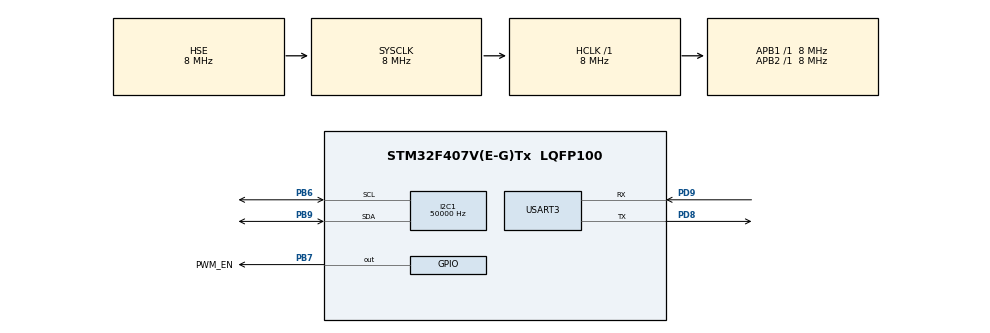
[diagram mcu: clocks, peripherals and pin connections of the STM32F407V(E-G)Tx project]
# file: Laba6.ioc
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I2C1.ClockSpeed=50000
Mcu.Family=STM32F4
Mcu.Name=STM32F407V(E-G)Tx
Mcu.Package=LQFP100
NVIC.PriorityGroup=NVIC_PRIORITYGROUP_4
NVIC.USART3_IRQn=true\:0\:0\:false\:false\:true\:true\:true
PA13.Mode=Serial_Wire
PA13.Signal=SYS_JTMS-SWDIO
PA14.Mode=Serial_Wire
PA14.Signal=SYS_JTCK-SWCLK
PB6.Mode=I2C
PB6.Signal=I2C1_SCL
PB7.GPIO_Label=PWM_EN
PB7.Signal=GPIO_Output
PB9.Mode=I2C
PB9.Signal=I2C1_SDA
PD8.Mode=Asynchronous
PD8.Signal=USART3_TX
PD9.Mode=Asynchronous
PD9.Signal=USART3_RX
PH0-OSC_IN.Mode=HSE-External-Oscillator
PH0-OSC_IN.Signal=RCC_OSC_IN
PH1-OSC_OUT.Mode=HSE-External-Oscillator
PH1-OSC_OUT.Signal=RCC_OSC_OUT
ProjectManager.HeapSize=0x200
ProjectManager.StackSize=0x400
ProjectManager.TargetToolchain=STM32CubeIDE
RCC.48MHZClocksFreq_Value=14500000
RCC.AHBFreq_Value=8000000
RCC.APB1Freq_Value=8000000
RCC.APB1TimFreq_Value=8000000
RCC.APB2Freq_Value=8000000
RCC.APB2TimFreq_Value=8000000
RCC.CortexFreq_Value=8000000
RCC.HCLKFreq_Value=8000000
RCC.HSE_VALUE=8000000
RCC.HSI_VALUE=16000000
RCC.LSE_VALUE=32768
RCC.PLLN=116
RCC.PLLSourceVirtual=RCC_PLLSOURCE_HSE
RCC.SYSCLKFreq_VALUE=8000000
RCC.SYSCLKSource=RCC_SYSCLKSOURCE_HSE
RCC.VCOOutputFreq_Value=58000000
USART3.VirtualMode=VM_ASYNC
board=custom

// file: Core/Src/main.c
/* USER CODE BEGIN Header */
/**
  ******************************************************************************
  * @file           : main.c
  * @brief          : Main program body
  ******************************************************************************
  * @attention
  *
  * <h2><center>&copy; Copyright (c) 2021 STMicroelectronics.
  * All rights reserved.</center></h2>
  *
  * This software component is licensed by ST under BSD 3-Clause license,
  * the "License"; You may not use this file except in compliance with the
  * License. You may obtain a copy of the License at:
  *                        opensource.org/licenses/BSD-3-Clause
  *
  ******************************************************************************
  */
/* USER CODE END Header */
#include "main.h"

/* USER CODE BEGIN PD */
#define CHAR2NUM(chr) ((chr)-48)
/* USER CODE END PD */

I2C_HandleTypeDef hi2c1;

UART_HandleTypeDef huart3;

/* USER CODE BEGIN PV */
uint8_t mode = 0;
_Bool end_freq = 0;
_Bool end_led = 0;
_Bool end_duty = 0;
_Bool sleep = 0;
_Bool state = 1;
uint8_t buffer_freq[4];
uint8_t buffer_led[2];
uint8_t buffer_duty[3];
uint8_t dutys[16];
/* USER CODE END PV */

void SystemClock_Config(void);
static void MX_GPIO_Init(void);
static void MX_I2C1_Init(void);
static void MX_USART3_UART_Init(void);
/* USER CODE BEGIN PFP */

uint16_t int_stepen(uint8_t num, uint8_t count);

/* USER CODE END PFP */

/* USER CODE BEGIN 0 */
void check_mode(void)
{
	uint8_t buffer;
	if (HAL_UART_Receive(&huart3, &buffer, 1, 10) != HAL_OK)
		return;
	switch(buffer)
	{
	case 'f':		//set frequency
		mode = 1;
		break;
	case 'l':		//set led info
		mode = 2;
		break;
	case 's':		//toggle sleep mode
		sleep = sleep == 1 ? 0 : 1;
		if (sleep)
			sleep_mode_on();
		else
			sleep_mode_off();
		break;
	case 'e':		//on/off
		state = state == 1 ? 0 : 1;
		state_all_PWM_channels(state);
		break;
	}
}

void set_frequency(void)
{
	if (mode != 1)
	{
		if (end_freq)
		{
			uint16_t num = 0;
			num = CHAR2NUM(buffer_freq[0]) * 1000 + CHAR2NUM(buffer_freq[1]) * 100 + CHAR2NUM(buffer_freq[2]) * 10 + CHAR2NUM(buffer_freq[3]);
			set_PWM_freq(num);
			for (uint8_t i = 0; i < 16; i++)
				set_PWM_duty(dutys[i], i);
			end_freq = 0;
		}
		return;
	}
	HAL_UART_Transmit(&huart3, "Set freqency:\r\n", 15, 50);
	HAL_UART_Receive_IT(&huart3, &buffer_freq, 4);
	mode = 0;
}

uint16_t int_stepen(uint8_t num, uint8_t count)
{
	uint16_t sum = 1;
	for(;count > 0; count--)
		sum *= num;
	return sum;
}

void set_duty(void)
{
	if (mode != 2)
	{
		if (end_duty)
		{
			uint8_t led = 0;
			led = CHAR2NUM(buffer_led[0]) * 10 + CHAR2NUM(buffer_led[1]);
			uint8_t duty = 0;
			duty = CHAR2NUM(buffer_duty[0]) * 100 + CHAR2NUM(buffer_duty[1]) * 10 + CHAR2NUM(buffer_duty[2]);
			dutys[led] = duty;
			set_PWM_duty(duty, led);
			end_duty = 0;
		}
		if(end_led)
		{
			HAL_UART_Transmit(&huart3, "Set DUTY:\r\n", 10, 50);
			HAL_UART_Receive_IT(&huart3, (uint8_t*)&buffer_duty, 3);
			end_led = 0;
		}
		return;
	}
	HAL_UART_Transmit(&huart3, "Set LED:\r\n", 10, 50);
	HAL_UART_Receive_IT(&huart3, &buffer_led, 2);

	mode = 0;
}

/* USER CODE END 0 */

int main(void)
{

  /* MCU Configuration--------------------------------------------------------*/

  /* Reset of all peripherals, Initializes the Flash interface and the Systick. */
  HAL_Init();

  /* Configure the system clock */
  SystemClock_Config();

  /* Initialize all configured peripherals */
  MX_GPIO_Init();
  MX_I2C1_Init();
  MX_USART3_UART_Init();
  /* USER CODE BEGIN 2 */

  state_all_PWM_channels(ENABLE);
  set_PWM_freq(1000);
  set_PWM_duty(20, 0);
  HAL_Delay(500);
  set_PWM_duty(50, 0);
  HAL_Delay(500);
  //state_all_PWM_channels(DISABLE);
  /* USER CODE END 2 */

  /* Infinite loop */
  /* USER CODE BEGIN WHILE */
  while (1)
  {
	  check_mode();
	  set_frequency();
	  set_duty();

    /* USER CODE END WHILE */

  }
}

void SystemClock_Config(void)
{
  RCC_OscInitTypeDef RCC_OscInitStruct = {0};
  RCC_ClkInitTypeDef RCC_ClkInitStruct = {0};

  /** Configure the main internal regulator output voltage
  */
  __HAL_RCC_PWR_CLK_ENABLE();
  __HAL_PWR_VOLTAGESCALING_CONFIG(PWR_REGULATOR_VOLTAGE_SCALE1);
  /** Initializes the RCC Oscillators according to the specified parameters
  * in the RCC_OscInitTypeDef structure.
  */
  RCC_OscInitStruct.OscillatorType = RCC_OSCILLATORTYPE_HSE;
  RCC_OscInitStruct.HSEState = RCC_HSE_ON;
  RCC_OscInitStruct.PLL.PLLState = RCC_PLL_NONE;
  if (HAL_RCC_OscConfig(&RCC_OscInitStruct) != HAL_OK)
  {
    Error_Handler();
  }
  /** Initializes the CPU, AHB and APB buses clocks
  */
  RCC_ClkInitStruct.ClockType = RCC_CLOCKTYPE_HCLK|RCC_CLOCKTYPE_SYSCLK
                              |RCC_CLOCKTYPE_PCLK1|RCC_CLOCKTYPE_PCLK2;
  RCC_ClkInitStruct.SYSCLKSource = RCC_SYSCLKSOURCE_HSE;
  RCC_ClkInitStruct.AHBCLKDivider = RCC_SYSCLK_DIV1;
  RCC_ClkInitStruct.APB1CLKDivider = RCC_HCLK_DIV1;
  RCC_ClkInitStruct.APB2CLKDivider = RCC_HCLK_DIV1;

  if (HAL_RCC_ClockConfig(&RCC_ClkInitStruct, FLASH_LATENCY_0) != HAL_OK)
  {
    Error_Handler();
  }
}

static void MX_I2C1_Init(void)
{

  hi2c1.Instance = I2C1;
  hi2c1.Init.ClockSpeed = 50000;
  hi2c1.Init.DutyCycle = I2C_DUTYCYCLE_2;
  hi2c1.Init.OwnAddress1 = 0;
  hi2c1.Init.AddressingMode = I2C_ADDRESSINGMODE_7BIT;
  hi2c1.Init.DualAddressMode = I2C_DUALADDRESS_DISABLE;
  hi2c1.Init.OwnAddress2 = 0;
  hi2c1.Init.GeneralCallMode = I2C_GENERALCALL_DISABLE;
  hi2c1.Init.NoStretchMode = I2C_NOSTRETCH_DISABLE;
  if (HAL_I2C_Init(&hi2c1) != HAL_OK)
  {
    Error_Handler();
  }

}

static void MX_USART3_UART_Init(void)
{

  huart3.Instance = USART3;
  huart3.Init.BaudRate = 115200;
  huart3.Init.WordLength = UART_WORDLENGTH_8B;
  huart3.Init.StopBits = UART_STOPBITS_1;
  huart3.Init.Parity = UART_PARITY_NONE;
  huart3.Init.Mode = UART_MODE_TX_RX;
  huart3.Init.HwFlowCtl = UART_HWCONTROL_NONE;
  huart3.Init.OverSampling = UART_OVERSAMPLING_16;
  if (HAL_UART_Init(&huart3) != HAL_OK)
  {
    Error_Handler();
  }

}

static void MX_GPIO_Init(void)
{
  GPIO_InitTypeDef GPIO_InitStruct = {0};

  /* GPIO Ports Clock Enable */
  __HAL_RCC_GPIOH_CLK_ENABLE();
  __HAL_RCC_GPIOD_CLK_ENABLE();
  __HAL_RCC_GPIOA_CLK_ENABLE();
  __HAL_RCC_GPIOB_CLK_ENABLE();

  /*Configure GPIO pin Output Level */
  HAL_GPIO_WritePin(PWM_EN_GPIO_Port, PWM_EN_Pin, GPIO_PIN_RESET);

  /*Configure GPIO pin : PWM_EN_Pin */
  GPIO_InitStruct.Pin = PWM_EN_Pin;
  GPIO_InitStruct.Mode = GPIO_MODE_OUTPUT_PP;
  GPIO_InitStruct.Pull = GPIO_NOPULL;
  GPIO_InitStruct.Speed = GPIO_SPEED_FREQ_LOW;
  HAL_GPIO_Init(PWM_EN_GPIO_Port, &GPIO_InitStruct);

}

/* USER CODE BEGIN 4 */
void HAL_UART_RxCpltCallback(UART_HandleTypeDef* huart)
{
	uint16_t count = huart->RxXferSize;
	switch(count)
	{
	case 2:
		end_led = 1;
		HAL_UART_Transmit(&huart3, "\n", 1, 10);
		HAL_UART_Transmit(&huart3,&buffer_led, 2, 50);
		HAL_UART_Transmit(&huart3, "\r\n", 2, 10);
		break;
	case 3:
		end_duty = 1;
		HAL_UART_Transmit(&huart3, "\n", 1, 10);
		HAL_UART_Transmit(&huart3,&buffer_duty, 3, 50);
		HAL_UART_Transmit(&huart3, "\r\n", 2, 10);
		break;
	case 4:
		end_freq = 1;
		HAL_UART_Transmit(&huart3, "\n", 1, 10);
		HAL_UART_Transmit(&huart3,&buffer_freq, 4, 50);
		HAL_UART_Transmit(&huart3, "\r\n", 2, 10);
		break;
	}
}
/* USER CODE END 4 */

void Error_Handler(void)
{
  __disable_irq();
  while (1)
  {
  }
}

/************************ (C) COPYRIGHT STMicroelectronics *****END OF FILE****/
